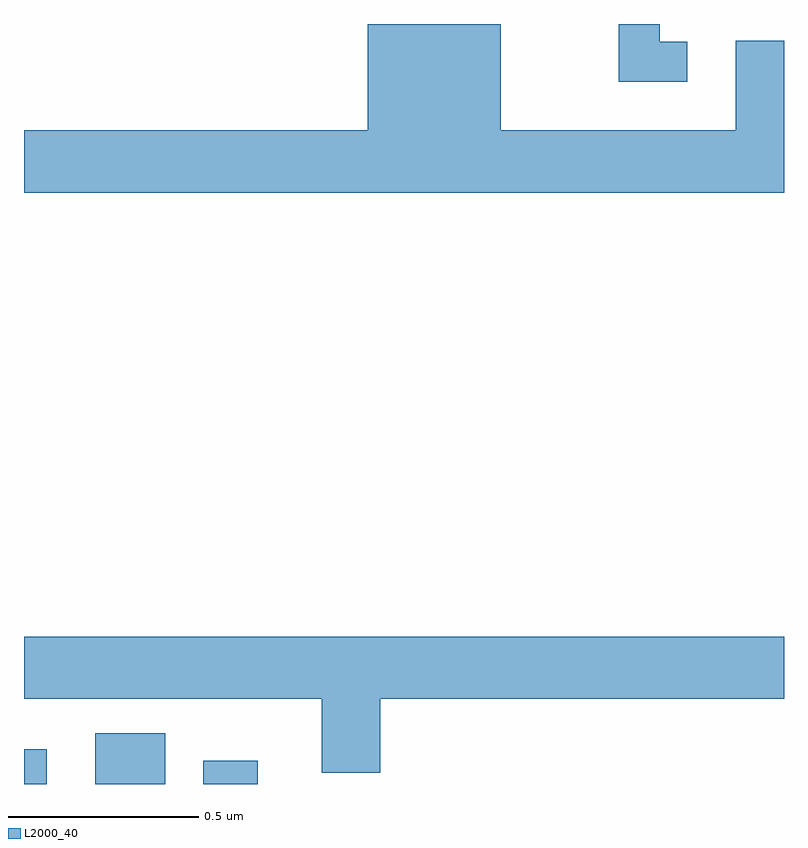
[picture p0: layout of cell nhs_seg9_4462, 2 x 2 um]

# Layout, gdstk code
import gdstk
lib = gdstk.Library(unit=1e-6, precision=1e-09)
def R(c, l, rs):  # rectangles x0, y0, x1, y1
    for r in rs: c.add(gdstk.rectangle(r[:2], r[2:], *l))
def P(c, l, *ps):  # polygons
    for p in ps: c.add(gdstk.Polygon(p, *l))
L2000_40 = (2000, 40)

nhs_seg9_4462 = lib.new_cell('nhs_seg9_4462')
R(nhs_seg9_4462, L2000_40, [(166,1225.5,166.06,1225.591), (166.187,1225.5,166.372,1225.633), (166.472,1225.5,166.615,1225.561)])
P(nhs_seg9_4462, L2000_40, [(168,1227.456),(167.873,1227.456),(167.873,1227.22),(167.254,1227.22),(167.254,1227.5),(166.904,1227.5),(166.904,1227.22),(166,1227.22),(166,1227.056),(168,1227.056)],
  [(167.746,1227.453),(167.673,1227.453),(167.673,1227.5),(167.565,1227.5),(167.565,1227.348),(167.746,1227.348)],
  [(166.937,1225.724),(168,1225.724),(168,1225.888),(166,1225.888),(166,1225.724),(166.784,1225.724),(166.784,1225.53),(166.937,1225.53)])

lib.write_gds('nhs_seg9_4462.gds')
